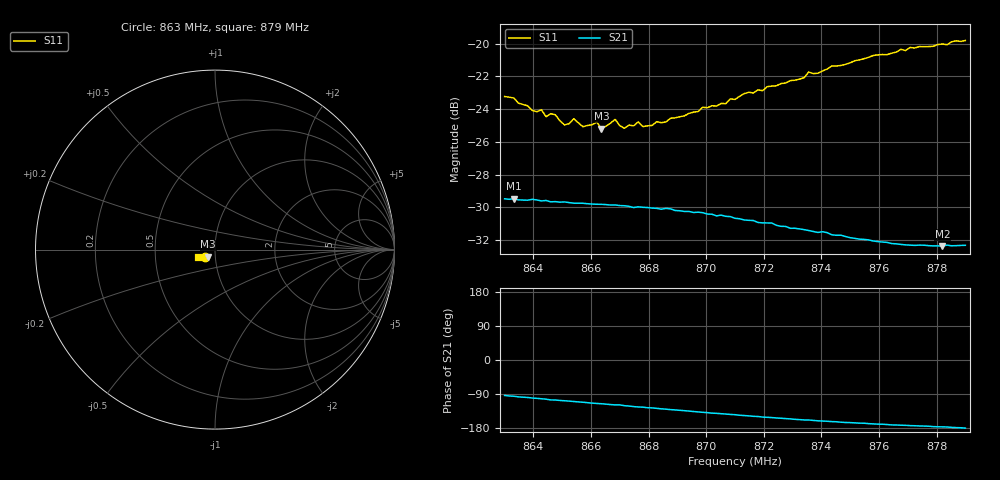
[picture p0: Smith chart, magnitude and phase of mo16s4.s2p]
# HZ S RI R 50
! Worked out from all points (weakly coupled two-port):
!   101 points, 863 MHz to 879 MHz, reference 50 ohm
!   highest |S21| = -29.46 dB at 863.32 MHz (marker M1); lowest = -32.4 dB at 878.2 MHz (marker M2)
!   lowest |S11| = -25.2 dB at 866.36 MHz (marker M3), VSWR 1.12, Z = 46.2 - j3.65 ohm
!   |S11| at or under -10 dB: start of sweep to end of sweep
!   S12 and S22 are empty: the file has one direction only
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8.63e8  -0.0568 -0.0391  -0.00211 -0.0335  0 0  0 0
8.6332e8  -0.0553 -0.0401  -0.00329 -0.0335  0 0  0 0
8.6396e8  -0.05 -0.0377  -0.00604 -0.0329  0 0  0 0
8.6428e8  -0.0485 -0.04  -0.00704 -0.0324  0 0  0 0
8.6444e8  -0.0468 -0.0374  -0.0077 -0.0323  0 0  0 0
8.6476e8  -0.0469 -0.0384  -0.00884 -0.0317  0 0  0 0
8.6508e8  -0.0412 -0.0386  -0.00991 -0.0314  0 0  0 0
8.654e8  -0.0452 -0.038  -0.0109 -0.0307  0 0  0 0
8.6572e8  -0.0403 -0.0386  -0.0119 -0.0303  0 0  0 0
8.662e8  -0.0414 -0.0402  -0.0135 -0.0294  0 0  0 0
8.6636e8  -0.0385 -0.0394  -0.0139 -0.0292  0 0  0 0
8.6684e8  -0.0407 -0.0424  -0.0154 -0.0283  0 0  0 0
8.6716e8  -0.0363 -0.0415  -0.0163 -0.0275  0 0  0 0
8.6764e8  -0.0378 -0.0436  -0.0178 -0.0263  0 0  0 0
8.678e8  -0.0351 -0.0434  -0.0179 -0.0261  0 0  0 0
8.6844e8  -0.0349 -0.0455  -0.0196 -0.0243  0 0  0 0
8.71e8  -0.0393 -0.055  -0.0238 -0.0171  0 0  0 0
8.7356e8  -0.0537 -0.0619  -0.025 -0.00992  0 0  0 0
8.7372e8  -0.0527 -0.0615  -0.025 -0.0094  0 0  0 0
8.7644e8  -0.0745 -0.0566  -0.0243 -0.00368  0 0  0 0
8.782e8  -0.0885 -0.046  -0.024 -0.00152  0 0  0 0
8.79e8  -0.0939 -0.0406  -0.0242 -0.000112  0 0  0 0
